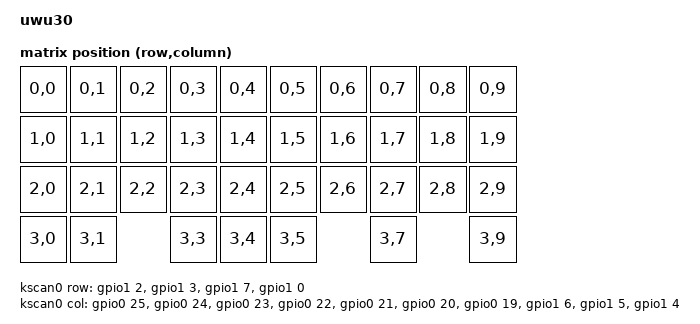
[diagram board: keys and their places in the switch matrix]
/*
 * Copyright (c) 2023 The ZMK Contributors
 *
 * SPDX-License-Identifier: MIT
 */

/dts-v1/;
#include <nordic/nrf52840_qiaa.dtsi>
#include <dt-bindings/zmk/matrix_transform.h>

/ {
    model = "uwu30";
    compatible = "uwu30";

    chosen {
        zephyr,code-partition = &code_partition;
        zephyr,sram = &sram0;
        zephyr,flash = &flash0;
        zephyr,console = &cdc_acm_uart;
        zmk,battery = &fuelgauge;
        zmk,kscan = &kscan0;
        zmk,matrix-transform = &default_transform;
    };

    default_transform: keymap_transform_0 {
        compatible = "zmk,matrix-transform";
        columns = <12>;
        rows = <4>;
        map = <
            RC(0,0) RC(0,1) RC(0,2) RC(0,3) RC(0,4) RC(0,5) RC(0,6) RC(0,7) RC(0,8) RC(0,9)
            RC(1,0) RC(1,1) RC(1,2) RC(1,3) RC(1,4) RC(1,5) RC(1,6) RC(1,7) RC(1,8) RC(1,9)
            RC(2,0) RC(2,1) RC(2,2) RC(2,3) RC(2,4) RC(2,5) RC(2,6) RC(2,7) RC(2,8) RC(2,9)
            RC(3,0) RC(3,1)         RC(3,3) RC(3,4) RC(3,5)         RC(3,7)         RC(3,9)
            >;
    };


    kscan0: kscan {
        compatible = "zmk,kscan-gpio-matrix";
        diode-direction = "col2row";
        row-gpios
            = <&gpio1 2 (GPIO_ACTIVE_HIGH | GPIO_PULL_DOWN)>
            , <&gpio1 3 (GPIO_ACTIVE_HIGH | GPIO_PULL_DOWN)>
            , <&gpio1 7 (GPIO_ACTIVE_HIGH | GPIO_PULL_DOWN)>
            , <&gpio1 0 (GPIO_ACTIVE_HIGH | GPIO_PULL_DOWN)>
            ;
        col-gpios
            = <&gpio0 25 GPIO_ACTIVE_HIGH>
            , <&gpio0 24 GPIO_ACTIVE_HIGH>
            , <&gpio0 23 GPIO_ACTIVE_HIGH>
            , <&gpio0 22 GPIO_ACTIVE_HIGH>
            , <&gpio0 21 GPIO_ACTIVE_HIGH>
            , <&gpio0 20 GPIO_ACTIVE_HIGH>
            , <&gpio0 19 GPIO_ACTIVE_HIGH>
            , <&gpio1 6 GPIO_ACTIVE_HIGH>
            , <&gpio1 5 GPIO_ACTIVE_HIGH>
            , <&gpio1 4 GPIO_ACTIVE_HIGH>
            ;
    };
};

&gpio0 {
    status = "okay";
};

&gpio1 {
    status = "okay";
};

&usbd {
    status = "okay";
    cdc_acm_uart: cdc_acm_uart {
        compatible = "zephyr,cdc-acm-uart";
    };
};

&pinctrl {
     i2c0_default: i2c0_default {
        group1 {
        psels = <NRF_PSEL(TWIM_SDA, 0, 7)>,
                <NRF_PSEL(TWIM_SCL, 0, 5)>;
        };
    };
    i2c0_sleep: i2c0_sleep {
        group1 {
        psels = <NRF_PSEL(TWIM_SDA, 0, 7)>,
                <NRF_PSEL(TWIM_SCL, 0, 5)>;
        low-power-enable;
        };
    };
};

&i2c0 {
    status = "okay";
    compatible = "nordic,nrf-twim";
    pinctrl-0 = <&i2c0_default>;
    pinctrl-1 = <&i2c0_sleep>;
    pinctrl-names = "default", "sleep";
    clock-frequency = <100000>;

    fuelgauge: max17048@36 {
        compatible = "zmk,maxim-max17048";
        reg = <0x36>;
    };
};

&flash0 {
    /*
     * For more information, see:
     * http://docs.zephyrproject.org/latest/devices/dts/flash_partitions.html
     */
    partitions {
        compatible = "fixed-partitions";
        #address-cells = <1>;
        #size-cells = <1>;

        sd_partition: partition@0 {
            reg = <0x00000000 0x00026000>;
        };
        code_partition: partition@26000 {
            reg = <0x00026000 0x000c6000>;
        };

        /*
         * The flash starting at 0x000ec000 and ending at
         * 0x000f3fff is reserved for use by the application.
         */

        /*
         * Storage partition will be used by FCB/LittleFS/NVS
         * if enabled.
         */
        storage_partition: partition@ec000 {
            reg = <0x000ec000 0x00008000>;
        };

        boot_partition: partition@f4000 {
            reg = <0x000f4000 0x0000c000>;
        };
    };
};
